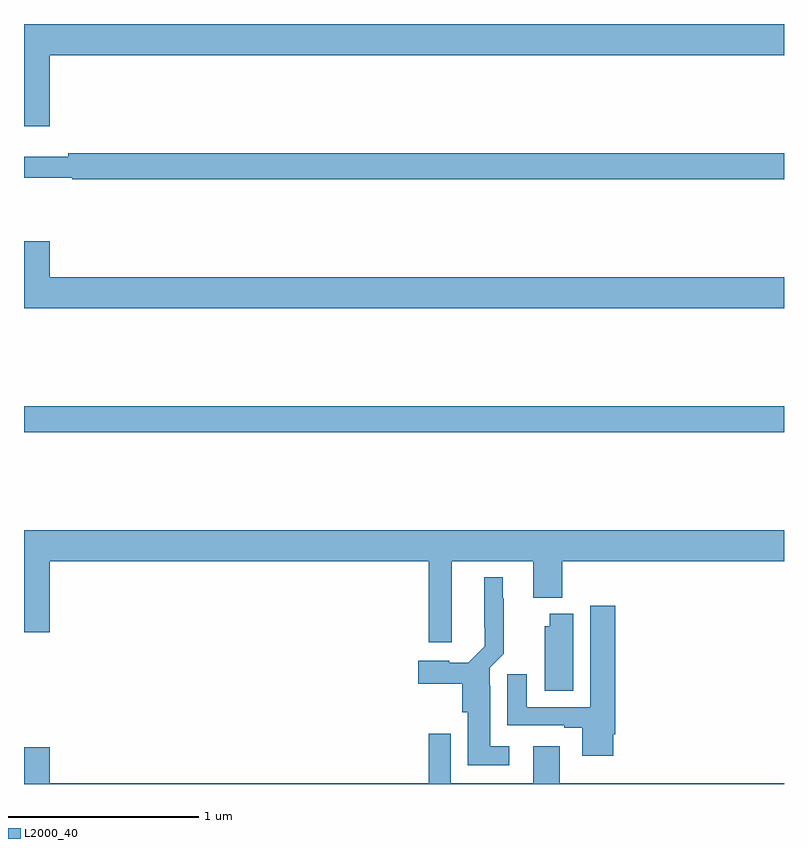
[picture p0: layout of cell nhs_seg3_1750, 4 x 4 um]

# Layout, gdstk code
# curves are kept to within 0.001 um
import gdstk
lib = gdstk.Library(unit=1e-6, precision=1e-09)
def R(c, l, rs):  # rectangles x0, y0, x1, y1
    for r in rs: c.add(gdstk.rectangle(r[:2], r[2:], *l))
def P(c, l, *ps):  # polygons
    for p in ps: c.add(gdstk.Polygon(p, *l))
L2000_40 = (2000, 40)

nhs_seg3_1750 = lib.new_cell('nhs_seg3_1750')
R(nhs_seg3_1750, L2000_40, [(201,712.252,205,712.388)])
P(nhs_seg3_1750, L2000_40, [(201.136,714.236),(205,714.236),(205,714.4),(201,714.4),(201,713.862),(201.136,713.862)],
  [(205,713.72),(201.232,713.72),(201.232,713.701),(201,713.701),(201,713.592),(201.255,713.592),(201.255,713.584),(205,713.584)],
  [(205,713.068),(201.136,713.068),(201.136,713.257),(201,713.257),(201,712.904),(205,712.904)],
  [(203.251,711.572),(203.681,711.572),(203.681,711.38),(203.834,711.38),(203.834,711.572),(205,711.572),(205,711.736),(201,711.736),(201,711.198),(201.136,711.198),(201.136,711.572),(203.129,711.572),(203.129,711.147),(203.251,711.147)],
  [(203.554,710.599),(203.455,710.599),(203.455,710.918),(203.451,710.918),(203.451,711.012),(203.525,711.086),(203.525,711.377),(203.521,711.377),(203.521,711.487),(203.423,711.487),(203.424,711.124),(203.337,711.037),(203.238,711.037),(203.238,711.049),(203.076,711.049),(203.076,710.927),(203.306,710.927),(203.306,710.778),(203.336,710.778),(203.336,710.498),(203.554,710.498)],
  [(204.1,710.662),(204.113,710.662),(204.113,711.337),(203.981,711.337),(203.981,710.805),(203.647,710.805),(203.647,710.977),(203.543,710.977),(203.543,710.709),(203.843,710.709),(203.843,710.697),(203.939,710.697),(203.939,710.55),(204.1,710.55)],
  [(203.89,711.295),(203.768,711.295),(203.768,711.231),(203.741,711.231),(203.741,710.89),(203.89,710.89)],
  [(205,710.404),(203.821,710.404),(203.821,710.599),(203.681,710.599),(203.681,710.404),(203.247,710.404),(203.247,710.665),(203.131,710.665),(203.131,710.404),(201.136,710.404),(201.136,710.593),(201,710.593),(201,710.4),(205,710.4)])

lib.write_gds('nhs_seg3_1750.gds')
